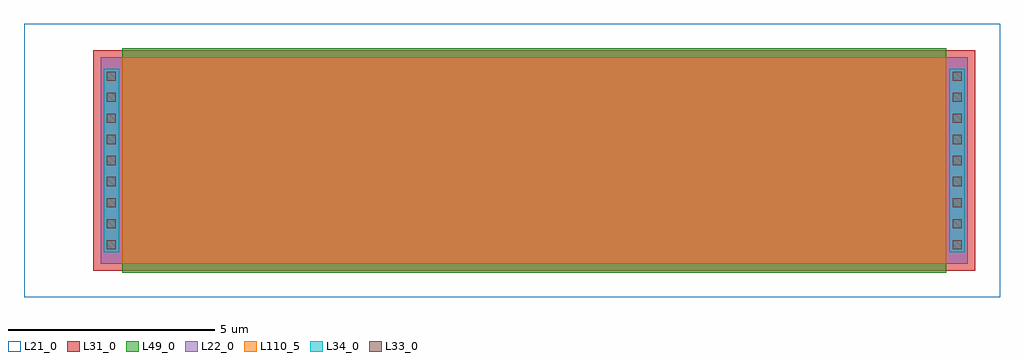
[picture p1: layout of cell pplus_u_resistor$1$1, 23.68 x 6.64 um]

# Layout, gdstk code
import gdstk
lib = gdstk.Library(unit=1e-6, precision=1e-09)
def R(c, l, rs):  # rectangles x0, y0, x1, y1
    for r in rs: c.add(gdstk.rectangle(r[:2], r[2:], *l))
def A(c, l, x, y, w, h, nx, ny, dx, dy):  # array of equal rectangles
    R(c, l, [(x+i*dx, y+j*dy, x+i*dx+w, y+j*dy+h) for i in range(nx) for j in range(ny)])
L21_0 = (21, 0)
L22_0 = (22, 0)
L31_0 = (31, 0)
L33_0 = (33, 0)
L34_0 = (34, 0)
L49_0 = (49, 0)
L110_5 = (110, 5)

pplus_u_resistor_1_1 = lib.new_cell('pplus_u_resistor$1$1')
R(pplus_u_resistor_1_1, L21_0, [(-2.38,-0.82,21.3,5.82)])
R(pplus_u_resistor_1_1, L22_0, [(-0.52,0,20.52,5)])
R(pplus_u_resistor_1_1, L31_0, [(-0.7,-0.18,20.7,5.18)])
A(pplus_u_resistor_1_1, L33_0, -0.37, 0.35, 0.22, 0.22, 1, 9, 0, 0.51)
A(pplus_u_resistor_1_1, L33_0, 20.15, 0.35, 0.22, 0.22, 1, 9, 0, 0.51)
R(pplus_u_resistor_1_1, L34_0, [(-0.45,0.27,-0.07,4.73), (20.07,0.27,20.45,4.73)])
R(pplus_u_resistor_1_1, L49_0, [(0,-0.22,20,5.22)])
R(pplus_u_resistor_1_1, L110_5, [(0,0,20,5)])

lib.write_gds('pplus_u_resistor_1_1.gds')
